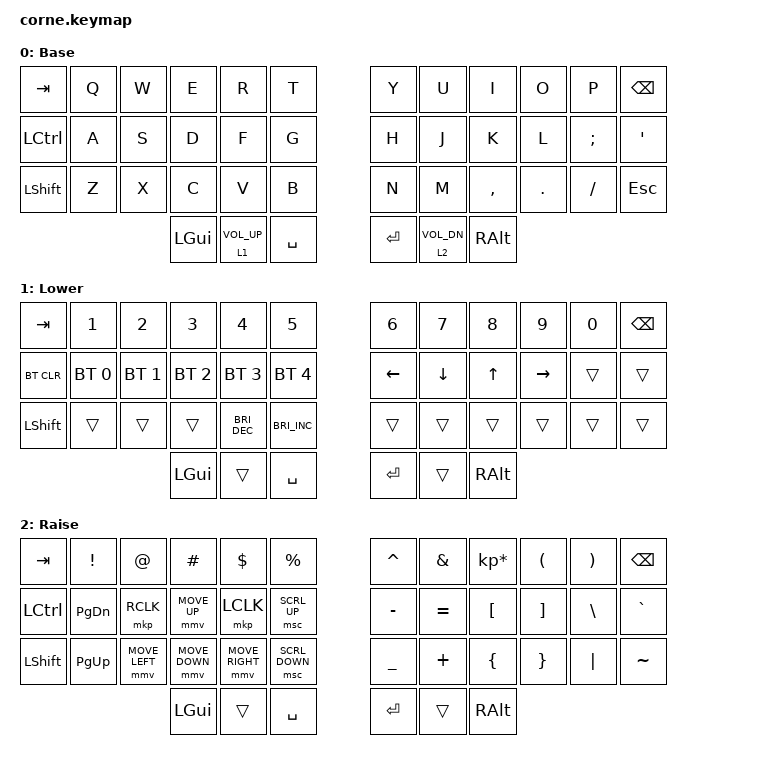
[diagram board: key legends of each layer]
/*
 * Copyright (c) 2020 The ZMK Contributors
 *
 * SPDX-License-Identifier: MIT
 */

#include <behaviors.dtsi>
#include <dt-bindings/zmk/bt.h>
#include <dt-bindings/zmk/keys.h>
#include <dt-bindings/zmk/pointing.h>

/ {
    combos { compatible = "zmk,combos"; };

    keymap {
        compatible = "zmk,keymap";

        default_layer {
            // -----------------------------------------------------------------------------------------
            // |  TAB |  Q  |  W  |  E  |  R  |  T  |   |  Y  |  U   |  I  |  O  |  P  | BKSP |
            // | CTRL |  A  |  S  |  D  |  F  |  G  |   |  H  |  J   |  K  |  L  |  ;  |  '   |
            // | SHFT |  Z  |  X  |  C  |  V  |  B  |   |  N  |  M   |  ,  |  .  |  /  | ESC  |
            //                    | GUI | LWR | SPC |   | ENT | RSE  | ALT |

            display-name = "Base";
            bindings = <
&kp TAB    &kp Q  &kp W  &kp E     &kp R           &kp T        &kp Y    &kp U           &kp I      &kp O    &kp P     &kp BSPC
&kp LCTRL  &kp A  &kp S  &kp D     &kp F           &kp G        &kp H    &kp J           &kp K      &kp L    &kp SEMI  &kp SQT
&kp LSHFT  &kp Z  &kp X  &kp C     &kp V           &kp B        &kp N    &kp M           &kp COMMA  &kp DOT  &kp FSLH  &kp ESC
                         &kp LGUI  &lt 1 C_VOL_UP  &kp SPACE    &kp RET  &lt 2 C_VOL_DN  &kp RALT
            >;
        };

        lower_layer {
            // -----------------------------------------------------------------------------------------
            // |  TAB |  1  |  2  |  3  |  4  |  5  |   |  6  |  7  |  8  |  9  |  0  | BKSP |
            // | BTCLR| BT1 | BT2 | BT3 | BT4 | BT5 |   | LFT | DWN |  UP | RGT |     |      |
            // | SHFT |     |     |     |     |     |   |     |     |     |     |     |      |
            //                    | GUI |     | SPC |   | ENT |     | ALT |

            display-name = "Lower";
            bindings = <
&kp TAB     &kp N1        &kp N2        &kp N3        &kp N4         &kp N5                  &kp N6    &kp N7    &kp N8    &kp N9     &kp N0  &kp BSPC
&bt BT_CLR  &bt BT_SEL 0  &bt BT_SEL 1  &bt BT_SEL 2  &bt BT_SEL 3   &bt BT_SEL 4            &kp LEFT  &kp DOWN  &kp UP    &kp RIGHT  &trans  &trans
&kp LSHFT   &trans        &trans        &trans        &kp C_BRI_DEC  &kp C_BRIGHTNESS_INC    &trans    &trans    &trans    &trans     &trans  &trans
                                        &kp LGUI      &trans         &kp SPACE               &kp RET   &trans    &kp RALT
            >;
        };

        raise_layer {
            // -----------------------------------------------------------------------------------------
            // |  TAB |  !  |  @  |  #  |  $  |  %  |   |  ^  |  &  |  *  |  (  |  )  | BKSP |
            // | CTRL |     |     |     |     |     |   |  -  |  =  |  [  |  ]  |  \  |  `   |
            // | SHFT |     |     |     |     |     |   |  _  |  +  |  {  |  }  | "|" |  ~   |
            //                    | GUI |     | SPC |   | ENT |     | ALT |

            display-name = "Raise";
            bindings = <
&kp TAB    &kp EXCL       &kp AT          &kp HASH        &kp DLLR         &kp PRCNT         &kp CARET  &kp AMPS   &kp KP_MULTIPLY  &kp LPAR  &kp RPAR  &kp BSPC
&kp LCTRL  &kp PAGE_DOWN  &mkp RCLK       &mmv MOVE_UP    &mkp LCLK        &msc SCRL_UP      &kp MINUS  &kp EQUAL  &kp LBKT         &kp RBKT  &kp BSLH  &kp GRAVE
&kp LSHFT  &kp PG_UP      &mmv MOVE_LEFT  &mmv MOVE_DOWN  &mmv MOVE_RIGHT  &msc SCRL_DOWN    &kp UNDER  &kp PLUS   &kp LBRC         &kp RBRC  &kp PIPE  &kp TILDE
                                          &kp LGUI        &trans           &kp SPACE         &kp RET    &trans     &kp RIGHT_ALT
            >;
        };

        extra_1 { status = "reserved"; };

        extra_2 { status = "reserved"; };

        extra_3 { status = "reserved"; };
    };
};
